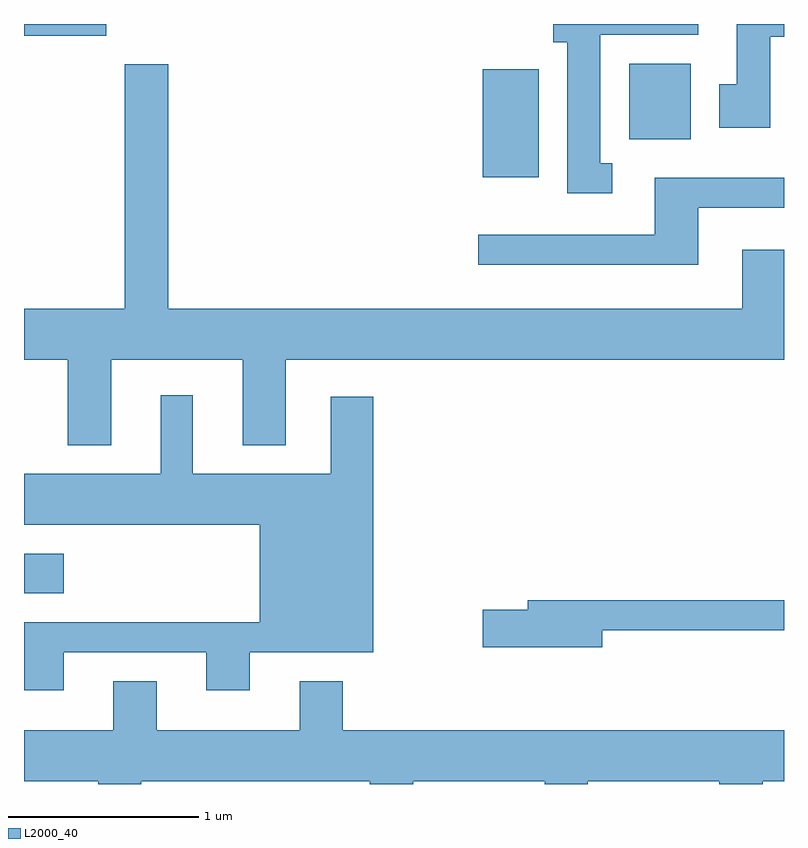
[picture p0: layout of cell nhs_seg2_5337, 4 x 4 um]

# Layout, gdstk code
import gdstk
lib = gdstk.Library(unit=1e-6, precision=1e-09)
def R(c, l, rs):  # rectangles x0, y0, x1, y1
    for r in rs: c.add(gdstk.rectangle(r[:2], r[2:], *l))
def P(c, l, *ps):  # polygons
    for p in ps: c.add(gdstk.Polygon(p, *l))
L2000_40 = (2000, 40)

nhs_seg2_5337 = lib.new_cell('nhs_seg2_5337')
R(nhs_seg2_5337, L2000_40, [(341.611,1104.806,341.819,1105.014), (344.026,1106.996,344.319,1107.564), (344.796,1107.196,345.119,1107.594), (341.611,1107.741,342.044,1107.802)])
P(nhs_seg2_5337, L2000_40, [(344.708,1107.069),(344.644,1107.069),(344.644,1107.746),(345.159,1107.746),(345.159,1107.802),(344.396,1107.802),(344.396,1107.706),(344.471,1107.706),(344.471,1106.911),(344.708,1106.911)],
  [(345.539,1107.736),(345.611,1107.736),(345.611,1107.802),(345.361,1107.802),(345.361,1107.484),(345.271,1107.484),(345.271,1107.256),(345.539,1107.256)],
  [(342.069,1106.036),(342.761,1106.036),(342.761,1105.586),(342.989,1105.586),(342.989,1106.036),(345.611,1106.036),(345.611,1106.614),(345.391,1106.614),(345.391,1106.304),(342.369,1106.304),(342.369,1107.589),(342.141,1107.589),(342.141,1106.304),(341.611,1106.304),(341.611,1106.036),(341.841,1106.036),(341.841,1105.586),(342.069,1105.586)],
  [(345.159,1106.836),(345.611,1106.836),(345.611,1106.994),(344.931,1106.994),(344.931,1106.694),(344.003,1106.694),(344.003,1106.536),(345.159,1106.536)],
  [(341.819,1104.496),(342.571,1104.496),(342.571,1104.296),(342.799,1104.296),(342.799,1104.496),(343.449,1104.496),(343.449,1105.839),(343.226,1105.839),(343.226,1105.434),(342.499,1105.434),(342.499,1105.848),(342.331,1105.848),(342.331,1105.434),(341.611,1105.434),(341.611,1105.166),(342.851,1105.166),(342.851,1104.654),(341.611,1104.654),(341.611,1104.296),(341.819,1104.296)],
  [(344.654,1104.611),(345.611,1104.611),(345.611,1104.769),(344.261,1104.769),(344.261,1104.719),(344.026,1104.719),(344.026,1104.521),(344.654,1104.521)],
  [(342.229,1103.816),(343.431,1103.816),(343.431,1103.802),(343.659,1103.802),(343.659,1103.816),(344.351,1103.816),(344.351,1103.802),(344.579,1103.802),(344.579,1103.816),(345.271,1103.816),(345.271,1103.802),(345.499,1103.802),(345.499,1103.816),(345.611,1103.816),(345.611,1104.084),(343.289,1104.084),(343.289,1104.344),(343.061,1104.344),(343.061,1104.084),(342.309,1104.084),(342.309,1104.344),(342.081,1104.344),(342.081,1104.084),(341.611,1104.084),(341.611,1103.816),(342.001,1103.816),(342.001,1103.802),(342.229,1103.802)])

lib.write_gds('nhs_seg2_5337.gds')
